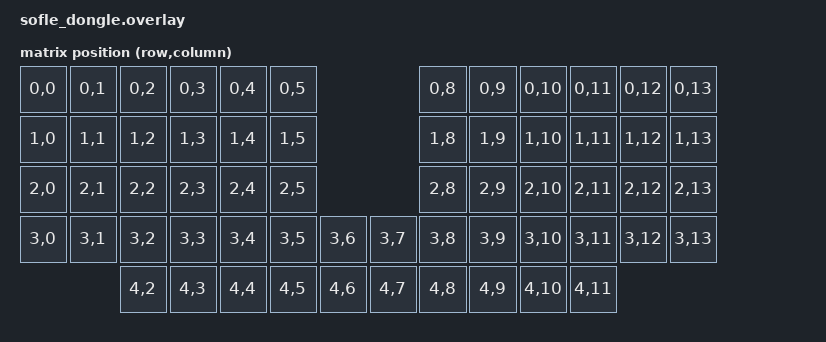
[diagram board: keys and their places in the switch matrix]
// Aurora Sofle dongle overlay
// The dongle acts as BLE central + USB HID host — it has no physical keys.
// We must still provide a mock kscan and the keyboard's matrix transform
// so ZMK can map key events received from the peripherals.

#include <dt-bindings/zmk/matrix_transform.h>

/ {
    chosen {
        zmk,kscan = &mock_kscan;
        zmk,physical-layout = &sofle_layout;
    };

    // Required by ZMK even though the dongle has no physical keys
    mock_kscan: mock_kscan_0 {
        compatible = "zmk,kscan-mock";
        columns = <0>;
        rows = <0>;
        events = <0>;
    };

    // Aurora Sofle v2 matrix transform — 5 rows × 14 columns = 58 keys + 2 encoders
    // Matches splitkb_aurora_sofle.dtsi in the ZMK tree
    default_transform: keymap_transform_0 {
        compatible = "zmk,matrix-transform";
        columns = <14>;
        rows = <5>;
        map = <
            RC(0,0) RC(0,1) RC(0,2) RC(0,3) RC(0,4)  RC(0,5)                   RC(0,8)  RC(0,9)  RC(0,10) RC(0,11) RC(0,12) RC(0,13)
            RC(1,0) RC(1,1) RC(1,2) RC(1,3) RC(1,4)  RC(1,5)                   RC(1,8)  RC(1,9)  RC(1,10) RC(1,11) RC(1,12) RC(1,13)
            RC(2,0) RC(2,1) RC(2,2) RC(2,3) RC(2,4)  RC(2,5)                   RC(2,8)  RC(2,9)  RC(2,10) RC(2,11) RC(2,12) RC(2,13)
            RC(3,0) RC(3,1) RC(3,2) RC(3,3) RC(3,4)  RC(3,5)  RC(3,6)  RC(3,7) RC(3,8)  RC(3,9)  RC(3,10) RC(3,11) RC(3,12) RC(3,13)
                            RC(4,2) RC(4,3) RC(4,4)  RC(4,5)  RC(4,6)  RC(4,7) RC(4,8)  RC(4,9)  RC(4,10) RC(4,11)
        >;
    };

    sofle_layout: sofle_layout {
        compatible = "zmk,physical-layout";
        display-name = "Sofle Layout";
        transform = <&default_transform>;
        kscan = <&mock_kscan>;
    };
};
